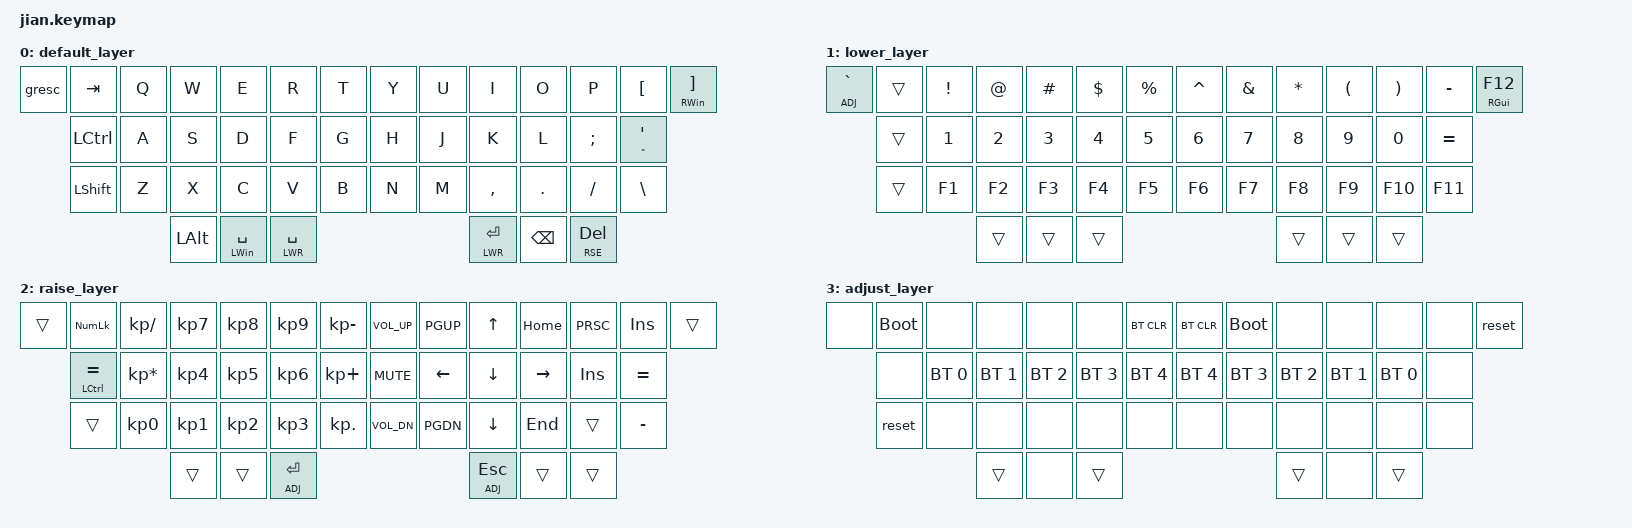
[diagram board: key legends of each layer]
/*
 * Copyright (c) 2020 The ZMK Contributors
 *
 * SPDX-License-Identifier: MIT
 */

#include <behaviors.dtsi>
#include <dt-bindings/zmk/keys.h>
#include <dt-bindings/zmk/bt.h>

#define DEF 0
#define LWR 1
#define RSE 2
#define ADJ 3

&lt { quick_tap_ms = <200>; };
&mt { quick_tap_ms = <200>; };

/ {
        keymap {
                compatible = "zmk,keymap";

                default_layer {
// -----------------------------------------------------------------------------------------
// |ESC/`  |  TAB |  Q  |  W  |  E  |  R  |  T  |   |  Y  |  U   |  I  |  O  |  P  |  [   | GUI/] |
//         | CTRL |  A  |  S  |  D  |  F  |  G  |   |  H  |  J   |  K  |  L  |  ;  | '/"|
//       | LSHIFT |  Z  |  X  |  C  |  V  |  B  |   |  N  |  M   |  ,  |  .  |  /  | \| |
//                            |LALT |GUI/SPC|LWR/S|   | LWR | BKSP | RSE |
                        bindings = <
   &gresc   &kp    TAB &kp Q &kp W &kp E &kp R &kp T &kp Y         &kp U  &kp I     &kp O   &kp P    &kp LBKT &mt RWIN RBKT
             &kp LCTRL &kp A &kp S &kp D &kp F &kp G &kp H         &kp J  &kp K     &kp L   &kp SEMI &mt DQT SQT
           &kp LSHIFT  &kp Z &kp X &kp C &kp V &kp B &kp N         &kp M  &kp COMMA &kp DOT &kp FSLH &kp BSLH
                              &kp LALT &mt LWIN SPACE &lt LWR SPACE    &lt LWR RET &kp BSPC &lt RSE DEL
                        >;
                };
                lower_layer {
// -----------------------------------------------------------------------------------------
// |`/adj|  tr  |  !  |  @  |  #  |  $  |  %  |   |  ^  |  &  |  *  |  (  |  )  |  -  | F12 |
//       |  tr  |  1  |  2  |  3  |  4  |  5  |   |  6  |  7  |  8  |  9  |  0  |  =  |
//       |  tr  |  F1 |  F2 |  F3 |  F4 |  F5 |   |  F6 |  F7 |  F8 |  F9 | F10 | F11 |
//                    |  |     | |   |  |     |  |
                        bindings = <
                                          
&lt ADJ GRAVE &trans  &kp EXCL &kp AT &kp HASH &kp DLLR &kp PRCNT        &kp CARET &kp AMPS &kp STAR &kp LPAR &kp RPAR &kp MINUS &mt RGUI F12
              &trans  &kp N1   &kp N2 &kp N3   &kp N4   &kp N5           &kp N6    &kp N7   &kp N8   &kp N9   &kp N0   &kp EQUAL
              &trans  &kp F1   &kp F2 &kp F3   &kp F4   &kp F5           &kp F6    &kp F7   &kp F8   &kp F9   &kp F10  &kp F11
                                          &trans &trans &trans   &trans &trans &trans
                        >;
                };

                raise_layer {
// -----------------------------------------------------------------------------------------
// |     | NMLK |  /  |  7  |  8  |  9  |  -  |   | VOLU| PGUP|  UP | HOME| PRSC| INS|     |
//       | CTRL |  *  |  4  |  5  |  6  |  +  |   | MUT | LEFT|DOWN | RGHT|     |  =  |
//       |      |  0  |  1  |  2  |  3  |  .  |   | VOLD| PGDN|     | END|     |   -  |
//                          |     |     | ADJ |   | ADJ |     |     |
                        bindings = <
   &trans &kp KP_NUM      &kp KP_SLASH    &kp KP_N7 &kp KP_N8 &kp KP_N9 &kp KP_MINUS        &kp C_VOL_UP &kp PGUP &kp UP   &kp HOME  &kp PRSC &kp INS &trans
          &mt LCTRL EQUAL &kp KP_MULTIPLY &kp KP_N4 &kp KP_N5 &kp KP_N6 &kp KP_PLUS         &kp C_MUTE   &kp LEFT &kp DOWN &kp RIGHT &kp INS  &kp EQUAL
          &trans          &kp KP_N0       &kp KP_N1 &kp KP_N2 &kp KP_N3 &kp KP_DOT          &kp C_VOL_DN &kp PGDN &kp DOWN &kp END   &trans   &kp MINUS
                                                           &trans &trans &lt ADJ RET   &lt ADJ ESC &trans &trans
                        >;
                };
                adjust_layer {
// -----------------------------------------------------------------------------------------
// |     | BLDR |     |     |     |     |BTCLR|   |     |     |     |     |     | BLDR | RST |
//       |      | BT0 | BT1 | BT2 | BT3 | BT4 |   | BT4 | BT3 | BT2 | BT1 | BT0 | BTCLR|
//       | RST  |     |     |     |     |     |   |     |     |     |     |     |      |
//                          |     |     |     |   |     |     |     |
                        bindings = <
   &none &bootloader  &none        &none        &none        &none         &bt BT_CLR         &bt BT_CLR        &bootloader        &none        &none        &none   &none &reset
          &none       &bt BT_SEL 0 &bt BT_SEL 1 &bt BT_SEL 2 &bt BT_SEL 3 &bt BT_SEL 4       &bt BT_SEL 4 &bt BT_SEL 3 &bt BT_SEL 2 &bt BT_SEL 1 &bt BT_SEL 0  &none
          &reset       &none        &none        &none        &none        &none              &none        &none        &none        &none        &none         &none
                                                                    &trans &none &trans   &trans &none &trans
                        >;
                };
        };
};
